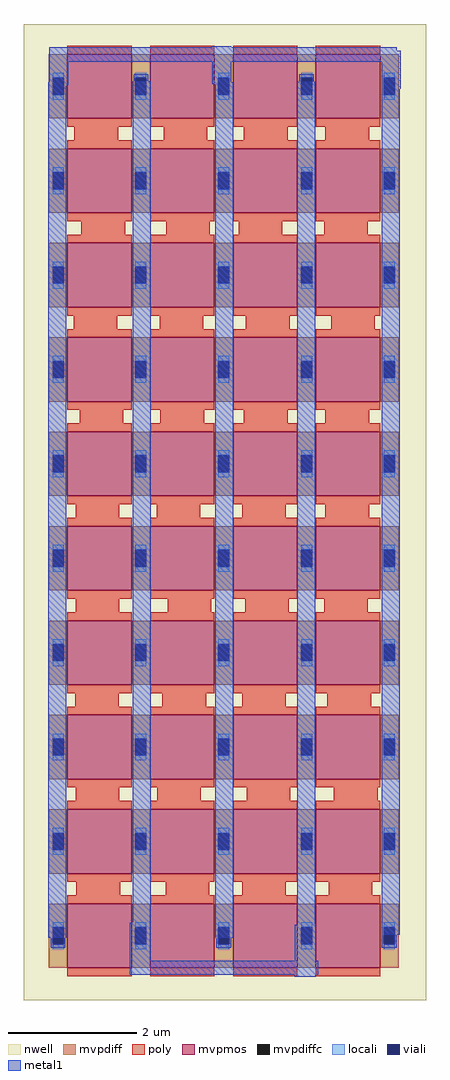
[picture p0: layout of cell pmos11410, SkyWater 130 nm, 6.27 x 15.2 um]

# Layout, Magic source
magic
tech sky130A
magscale 1 2
<< nwell >>
rect -42 -38 1212 3002
<< poly >>
rect 116 2626 252 2702
rect 394 2622 530 2698
rect 644 2628 780 2704
rect 898 2622 1034 2698
rect 138 2334 274 2410
rect 402 2332 538 2408
rect 628 2334 764 2410
rect 894 2332 1030 2408
rect 114 2036 250 2112
rect 382 2038 518 2114
rect 650 2032 786 2108
rect 916 2042 1052 2118
rect 132 1746 268 1822
rect 384 1744 520 1820
rect 644 1738 780 1814
rect 898 1746 1034 1822
rect 120 1448 256 1524
rect 372 1442 508 1518
rect 638 1444 774 1520
rect 898 1452 1034 1528
rect 120 1154 256 1230
rect 406 1152 542 1228
rect 648 1150 784 1226
rect 894 1148 1030 1224
rect 118 860 254 936
rect 390 856 526 932
rect 638 860 774 936
rect 904 858 1040 934
rect 120 566 256 642
rect 374 556 510 632
rect 652 572 788 648
rect 924 568 1060 644
rect 122 272 258 348
rect 400 270 536 346
rect 638 272 774 348
rect 908 268 1044 344
<< metal1 >>
rect 546 2930 604 2932
rect 38 2918 1120 2930
rect 38 2884 1132 2918
rect 38 2820 96 2884
rect 34 2812 96 2820
rect 34 156 90 2812
rect 298 202 354 2824
rect 546 2820 604 2884
rect 546 2814 610 2820
rect 288 84 354 202
rect 554 156 610 2814
rect 810 196 866 2822
rect 1074 2800 1132 2884
rect 802 84 868 196
rect 1074 166 1130 2800
rect 288 40 876 84
rect 802 34 868 40
use sky130_fd_pr__pfet_g5v0d10v5_TMTL6D  sky130_fd_pr__pfet_g5v0d10v5_TMTL6D_0
transform 1 0 581 0 1 1485
box -611 -1489 611 1489
<< end >>

# cell sky130_fd_pr__pfet_g5v0d10v5_TMTL6D: kit device sky130_fd_pr__pfet_g5v0d10v5, w 1 l 1 m 10 nf 4 diffcov 30 polycov 100 guard 0 glc 0 grc 0 gtc 0 gbc 0 tbcov 100 rlcov 100 topc 0 botc 0 poverlap 0 doverlap 1 lmin 0.50 wmin 0.42 compatible {sky130_fd_pr__pfet_01v8 sky130_fd_pr__pfet_01v8_lvt sky130_fd_pr__pfet_01v8_hvt sky130_fd_pr__pfet_g5v0d10v5} full_metal 0 viasrc 30 viadrn 30 viagate 100 viagb 0 viagr 0 viagl 0 viagt 0
